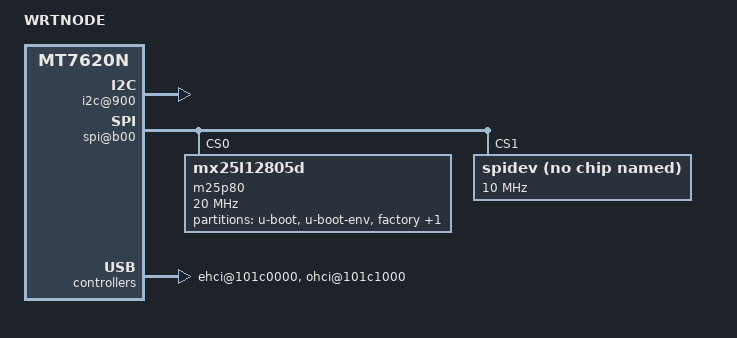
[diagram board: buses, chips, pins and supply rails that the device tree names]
/dts-v1/;

/include/ "mt7620n.dtsi"

/ {
	compatible = "wrtnode", "ralink,mt7620n-soc";
	model = "WRTNODE";
	
	chosen {
		bootargs = "console=ttyS0,115200";
	};

	palmbus@10000000 {
                gpio1: gpio@638 {
                        status = "okay";
                };
		gpio2: gpio@660 {
			status = "okay";
		};

		gpio3: gpio@688 {
			status = "okay";
		};

		i2c@900 {
                   compatible = "ralink,mt7620n-i2c", "ralink,rt2880-i2c";
                   reg = <0x900 0x100>;
                   resets = <&rstctrl 16>;
                   reset-names = "i2c";
                   #address-cells = <1>;
                   #size-cells = <0>;
                   status = "okay";
                };

		spi@b00 {
			status = "okay";

			m25p80@0 {
				#address-cells = <1>;
				#size-cells = <1>;
				compatible = "mx25l12805d";
				reg = <0 0>;
				linux,modalias = "m25p80", "w25q128";
				spi-max-frequency = <20000000>;

				partition@0 {
					label = "u-boot";
					reg = <0x0 0x30000>;
					read-only;
				};

				partition@30000 {
					label = "u-boot-env";
					reg = <0x30000 0x10000>;
					read-only;
				};

				factory: partition@40000 {
					label = "factory";
					reg = <0x40000 0x10000>;
					read-only;
				};

				partition@50000 {
					label = "firmware";
					reg = <0x50000 0xfb0000>;
				};
			};
			spidev@1 {
				#address-cells = <1>;
				#size-cells = <1>;
				compatible = "spidev";
				reg = <1 0>;
				linux,modalias = "spidev", "spidev";
				spi-max-frequency = <10000000>;

			};
		};
	};

	ehci@101c0000 {
		status = "okay";
	};

	ohci@101c1000 {
		status = "okay";
	};

	ethernet@10100000 {
		mtd-mac-address = <&factory 0x4>;
		ralink,port-map = "wllll";
	};

	wmac@10180000 {
		ralink,mtd-eeprom = <&factory 0>;
	};

	pinctrl {
		state_default: pinctrl0 {
			default {
				ralink,group = "ephy", "wled", "pa", "wdt", "uartf", "i2c";
				ralink,function = "gpio";
			};
		};
		spi_cs1: spi {
			spi {
				ralink,group = "spi cs1";
				ralink,function = "spi cs1";
			};
		};
	};
};
